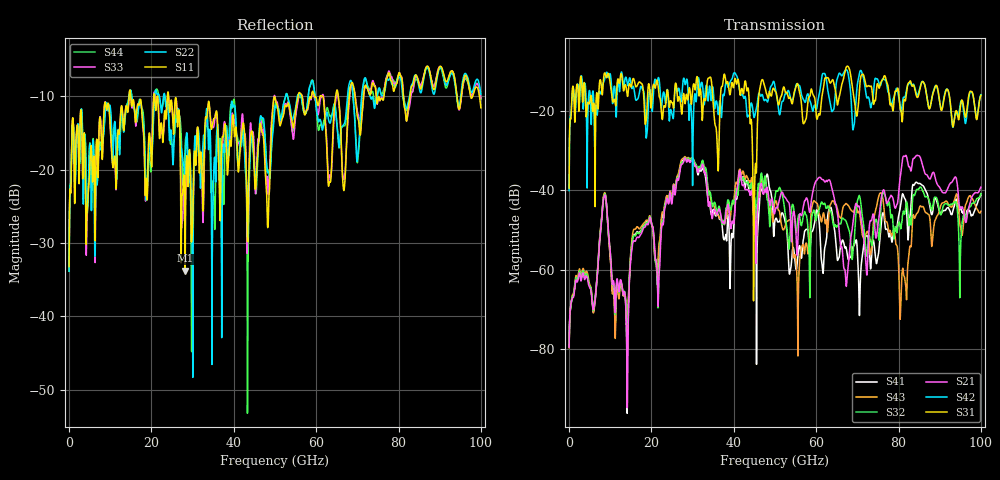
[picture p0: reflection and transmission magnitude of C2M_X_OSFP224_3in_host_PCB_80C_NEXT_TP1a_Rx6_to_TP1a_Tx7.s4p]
# GHz S RI R 45
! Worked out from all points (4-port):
!   4000 points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, 25 MHz to 100 GHz, reference 45 ohm
!   strongest paths, dB at 25 MHz, 25.02 GHz, 50.02 GHz, 75.03 GHz, 100 GHz:
!     S31: -39.5, -17.9, -15.1, -13.4, -16.1
!     S42: -40.1, -20.8, -13.9, -12.3, -15.9
!     S21: -79.6, -43.2, -45.5, -48.6, -39.2
!     S32: -78.7, -41.9, -41.6, -50.3, -40.9
!     S43: -79.7, -41.1, -43.0, -42.2, -45.3
!     S41: -79.3, -42.6, -47.5, -56.8, -41.2
!   lowest |S11| = -33.8 dB at 28.18 GHz (marker M1), VSWR 1.04, Z = 46.6 + j0.939 ohm
!   |S11| at or under -10 dB: start of sweep to 14.56 GHz; 15 GHz to 20.58 GHz (5.58 GHz wide, 31.4 % of centre); 24.18 GHz to 55.62 GHz (31.43 GHz wide, 78.8 % of centre) (the widest 3 of 16)
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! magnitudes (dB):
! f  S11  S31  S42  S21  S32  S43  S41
! 25 MHz  -33.2  -39.5  -40.1  -79.6  -78.7  -79.7  -79.3
! 28.18 GHz  -33.8  -18.2  -13.3  -31.9  -31.7  -31.5  -31.7
! 43.1 GHz  -21.9  -14.5  -19.4  -39.8  -38.2  -36.3  -37.6
! 45.08 GHz  -21.7  -38.8  -21.4  -44.9  -41.9  -43.1  -43.5
! 46.7 GHz  -14.4  -12.5  -16.1  -38.3  -35.7  -37.0  -39.8
! 55.55 GHz  -10.3  -13.3  -13.4  -53.2  -47.3  -79.7  -56.7
! 100 GHz  -11.6  -16.1  -15.9  -39.2  -40.9  -45.3  -41.2
